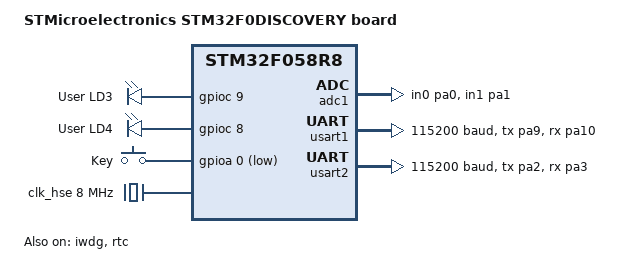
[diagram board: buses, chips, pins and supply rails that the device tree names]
/*
 * Copyright (c) 2018 Nathan Tsoi <nathan@vertile.com>
 *
 * SPDX-License-Identifier: Apache-2.0
 */

/dts-v1/;
#include <st/f0/stm32f051X8.dtsi>
#include <st/f0/stm32f051r8tx-pinctrl.dtsi>
#include <zephyr/dt-bindings/input/input-event-codes.h>

/ {
	model = "STMicroelectronics STM32F0DISCOVERY board";
	compatible = "st,stm32f058r8-discovery";

	chosen {
		zephyr,console = &usart1;
		zephyr,shell-uart = &usart1;
		zephyr,sram = &sram0;
		zephyr,flash = &flash0;
		zephyr,code-partition = &slot0_partition;
	};

	leds {
		compatible = "gpio-leds";

		green_led_3: led_3 {
			gpios = <&gpioc 9 GPIO_ACTIVE_HIGH>;
			label = "User LD3";
		};

		blue_led_4: led_4 {
			gpios = <&gpioc 8 GPIO_ACTIVE_HIGH>;
			label = "User LD4";
		};
	};

	gpio_keys {
		compatible = "gpio-keys";

		user_button: button {
			label = "Key";
			gpios = <&gpioa 0 GPIO_ACTIVE_LOW>;
			zephyr,code = <INPUT_KEY_0>;
		};
	};

	aliases {
		led0 = &green_led_3;
		led1 = &blue_led_4;
		sw0 = &user_button;
		watchdog0 = &iwdg;
	};
};

&adc1 {
	pinctrl-0 = <&adc_in0_pa0 &adc_in1_pa1>;
	pinctrl-names = "default";
	st,adc-clock-source = "SYNC";
	st,adc-prescaler = <4>;
	status = "okay";
};

&clk_lsi {
	status = "okay";
};

&clk_hse {
	clock-frequency = <DT_FREQ_M(8)>;
	status = "okay";
};

&pll {
	prediv = <1>;
	mul = <6>;
	clocks = <&clk_hse>;
	status = "okay";
};

&rcc {
	clocks = <&pll>;
	clock-frequency = <DT_FREQ_M(48)>;
	ahb-prescaler = <1>;
	apb1-prescaler = <1>;
};

/* Due to limited available memory, don't enable gpiod and gpiof */
&gpiod {
	status = "disabled";
};

&gpiof {
	status = "disabled";
};

&usart1 {
	pinctrl-0 = <&usart1_tx_pa9 &usart1_rx_pa10>;
	pinctrl-names = "default";
	current-speed = <115200>;
	status = "okay";
};

&usart2 {
	pinctrl-0 = <&usart2_tx_pa2 &usart2_rx_pa3>;
	pinctrl-names = "default";
	current-speed = <115200>;
	status = "okay";
};

&flash0 {
	partitions {
		compatible = "fixed-partitions";
		#address-cells = <1>;
		#size-cells = <1>;

		boot_partition: partition@0 {
			label = "mcuboot";
			reg = <0x00000000 DT_SIZE_K(8)>;
			read-only;
		};

		/*
		 * The flash starting at offset 0x2000 and ending at
		 * offset 0x3fff is reserved for use by the application.
		 */

		slot0_partition: partition@4000 {
			label = "image-0";
			reg = <0x00004000 DT_SIZE_K(16)>;
		};

		slot1_partition: partition@8000 {
			label = "image-1";
			reg = <0x00008000 DT_SIZE_K(16)>;
		};

		scratch_partition: partition@c000 {
			label = "image-scratch";
			reg = <0x0000C000 DT_SIZE_K(16)>;
		};
	};
};

&iwdg {
	status = "okay";
};

&rtc {
	clocks = <&rcc STM32_CLOCK(APB1, 28)>,
		 <&rcc STM32_SRC_LSI RTC_SEL(2)>;
	status = "okay";

	backup_regs {
		status = "okay";
	};
};
